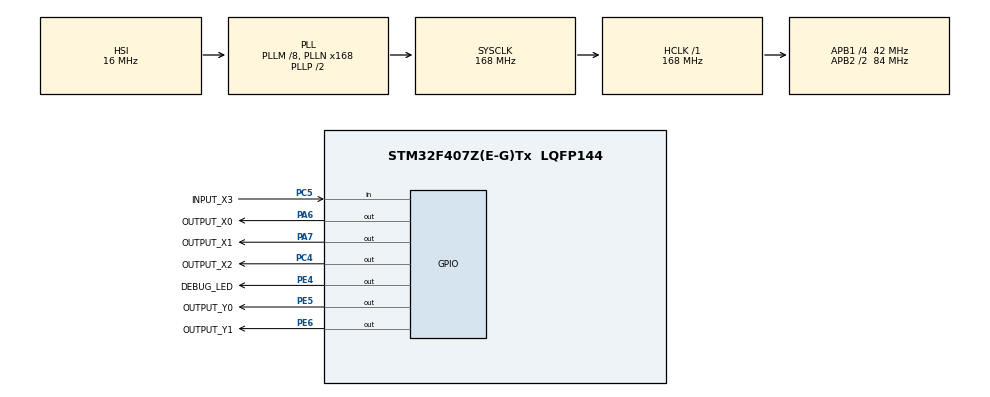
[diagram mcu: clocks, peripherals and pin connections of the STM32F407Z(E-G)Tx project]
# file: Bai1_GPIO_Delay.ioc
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Mcu.Family=STM32F4
Mcu.Name=STM32F407Z(E-G)Tx
Mcu.Package=LQFP144
NVIC.PriorityGroup=NVIC_PRIORITYGROUP_4
PA13.Mode=Serial_Wire
PA13.Signal=SYS_JTMS-SWDIO
PA14.Mode=Serial_Wire
PA14.Signal=SYS_JTCK-SWCLK
PA6.GPIO_Label=OUTPUT_X0
PA6.Signal=GPIO_Output
PA7.GPIO_Label=OUTPUT_X1
PA7.Signal=GPIO_Output
PC4.GPIO_Label=OUTPUT_X2
PC4.Signal=GPIO_Output
PC5.GPIO_Label=INPUT_X3
PC5.Signal=GPIO_Input
PE4.GPIO_Label=DEBUG_LED
PE4.Signal=GPIO_Output
PE5.GPIO_Label=OUTPUT_Y0
PE5.Signal=GPIO_Output
PE6.GPIO_Label=OUTPUT_Y1
PE6.Signal=GPIO_Output
PH0-OSC_IN.Mode=HSE-External-Oscillator
PH0-OSC_IN.Signal=RCC_OSC_IN
PH1-OSC_OUT.Mode=HSE-External-Oscillator
PH1-OSC_OUT.Signal=RCC_OSC_OUT
ProjectManager.HeapSize=0x200
ProjectManager.StackSize=0x400
ProjectManager.TargetToolchain=STM32CubeIDE
RCC.48MHZClocksFreq_Value=84000000
RCC.AHBFreq_Value=168000000
RCC.APB1CLKDivider=RCC_HCLK_DIV4
RCC.APB1Freq_Value=42000000
RCC.APB1TimFreq_Value=84000000
RCC.APB2CLKDivider=RCC_HCLK_DIV2
RCC.APB2Freq_Value=84000000
RCC.APB2TimFreq_Value=168000000
RCC.CortexFreq_Value=168000000
RCC.HCLKFreq_Value=168000000
RCC.HSE_VALUE=8000000
RCC.HSI_VALUE=16000000
RCC.LSE_VALUE=32768
RCC.PLLM=8
RCC.PLLN=168
RCC.SYSCLKFreq_VALUE=168000000
RCC.SYSCLKSource=RCC_SYSCLKSOURCE_PLLCLK
RCC.VCOOutputFreq_Value=336000000
board=custom

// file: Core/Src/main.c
/* USER CODE BEGIN Header */
/**
  ******************************************************************************
  * @file           : main.c
  * @brief          : Main program body
  ******************************************************************************
  * @attention
  *
  * Copyright (c) 2025 STMicroelectronics.
  * All rights reserved.
  *
  * This software is licensed under terms that can be found in the LICENSE file
  * in the root directory of this software component.
  * If no LICENSE file comes with this software, it is provided AS-IS.
  *
  ******************************************************************************
  */
/* USER CODE END Header */
#include "main.h"

void SystemClock_Config(void);
static void MX_GPIO_Init(void);
/* USER CODE BEGIN PFP */
//void loop_debug_led(void)
//{
//    static uint8_t state = 0;
//    static uint32_t  lastTime = 0;
//    uint32_t now = HAL_GetTick();
//
//    switch (state){
//
//    case 0: // bat dau voi led tat
//    	HAL_GPIO_WritePin(DEBUG_LED_GPIO_Port, DEBUG_LED_Pin, 0);
//    	lastTime = now;
//    	state = 1;
//    	break;
//
//    case 1: //cho 4000ms
//    	if(now - lastTime >= 4000)
//    	{
//    		HAL_GPIO_WritePin(DEBUG_LED_GPIO_Port, DEBUG_LED_Pin, 1);
//    		lastTime = now;
//    		state = 2;
//    	}
//    	break;
//
//    case 2: // cho 2000ms
//    	if (now - lastTime >= 2000)
//    	{
//    		state = 0;
//    	}
//    	break;
//    }
//}
void led_traffic(void)
{
	static uint8_t state = 0;
	static uint32_t lastTime = 0;
	uint32_t now = HAL_GetTick();

	switch (state)
	{
	case 0: // bat dau voi led RED_ON
		HAL_GPIO_WritePin(OUTPUT_X0_GPIO_Port, OUTPUT_X0_Pin, 0);
		HAL_GPIO_WritePin(OUTPUT_X1_GPIO_Port, OUTPUT_X1_Pin, 1);
		HAL_GPIO_WritePin(OUTPUT_X2_GPIO_Port, OUTPUT_X2_Pin, 1);
		if (now - lastTime >= 5000)
		{
			lastTime = now;
			state = 1;
		}
		break;

	case 1: //green
		HAL_GPIO_WritePin(OUTPUT_X0_GPIO_Port, OUTPUT_X0_Pin, 1);
		HAL_GPIO_WritePin(OUTPUT_X1_GPIO_Port, OUTPUT_X1_Pin, 0);
		HAL_GPIO_WritePin(OUTPUT_X2_GPIO_Port, OUTPUT_X2_Pin, 1);
		if(now - lastTime >= 3000)
		{
			lastTime = now;
			state = 2;
		}
		break;

	case 2: //yellow
		HAL_GPIO_WritePin(OUTPUT_X0_GPIO_Port, OUTPUT_X0_Pin, 1);
		HAL_GPIO_WritePin(OUTPUT_X1_GPIO_Port, OUTPUT_X1_Pin, 1);
		HAL_GPIO_WritePin(OUTPUT_X2_GPIO_Port, OUTPUT_X2_Pin, 0);
		if(now - lastTime >= 2000)
		{
			lastTime = now;
			state = 0;
		}
		break;

	}
}
/* USER CODE END PFP */

int main(void)
{

  /* MCU Configuration--------------------------------------------------------*/

  /* Reset of all peripherals, Initializes the Flash interface and the Systick. */
  HAL_Init();

  /* Configure the system clock */
  SystemClock_Config();

  /* Initialize all configured peripherals */
  MX_GPIO_Init();

  /* Infinite loop */
  while (1)
  {

    /* USER CODE BEGIN 3 */
//	 loop_debug_led();
	 led_traffic();

  }
  /* USER CODE END 3 */
}

void SystemClock_Config(void)
{
  RCC_OscInitTypeDef RCC_OscInitStruct = {0};
  RCC_ClkInitTypeDef RCC_ClkInitStruct = {0};

  /** Configure the main internal regulator output voltage
  */
  __HAL_RCC_PWR_CLK_ENABLE();
  __HAL_PWR_VOLTAGESCALING_CONFIG(PWR_REGULATOR_VOLTAGE_SCALE1);

  /** Initializes the RCC Oscillators according to the specified parameters
  * in the RCC_OscInitTypeDef structure.
  */
  RCC_OscInitStruct.OscillatorType = RCC_OSCILLATORTYPE_HSI;
  RCC_OscInitStruct.HSIState = RCC_HSI_ON;
  RCC_OscInitStruct.HSICalibrationValue = RCC_HSICALIBRATION_DEFAULT;
  RCC_OscInitStruct.PLL.PLLState = RCC_PLL_ON;
  RCC_OscInitStruct.PLL.PLLSource = RCC_PLLSOURCE_HSI;
  RCC_OscInitStruct.PLL.PLLM = 8;
  RCC_OscInitStruct.PLL.PLLN = 168;
  RCC_OscInitStruct.PLL.PLLP = RCC_PLLP_DIV2;
  RCC_OscInitStruct.PLL.PLLQ = 4;
  if (HAL_RCC_OscConfig(&RCC_OscInitStruct) != HAL_OK)
  {
    Error_Handler();
  }

  /** Initializes the CPU, AHB and APB buses clocks
  */
  RCC_ClkInitStruct.ClockType = RCC_CLOCKTYPE_HCLK|RCC_CLOCKTYPE_SYSCLK
                              |RCC_CLOCKTYPE_PCLK1|RCC_CLOCKTYPE_PCLK2;
  RCC_ClkInitStruct.SYSCLKSource = RCC_SYSCLKSOURCE_PLLCLK;
  RCC_ClkInitStruct.AHBCLKDivider = RCC_SYSCLK_DIV1;
  RCC_ClkInitStruct.APB1CLKDivider = RCC_HCLK_DIV4;
  RCC_ClkInitStruct.APB2CLKDivider = RCC_HCLK_DIV2;

  if (HAL_RCC_ClockConfig(&RCC_ClkInitStruct, FLASH_LATENCY_5) != HAL_OK)
  {
    Error_Handler();
  }
}

static void MX_GPIO_Init(void)
{
  GPIO_InitTypeDef GPIO_InitStruct = {0};

  /* GPIO Ports Clock Enable */
  __HAL_RCC_GPIOE_CLK_ENABLE();
  __HAL_RCC_GPIOH_CLK_ENABLE();
  __HAL_RCC_GPIOA_CLK_ENABLE();
  __HAL_RCC_GPIOC_CLK_ENABLE();

  /*Configure GPIO pin Output Level */
  HAL_GPIO_WritePin(GPIOE, DEBUG_LED_Pin|OUTPUT_Y0_Pin|OUTPUT_Y1_Pin, GPIO_PIN_RESET);

  /*Configure GPIO pin Output Level */
  HAL_GPIO_WritePin(GPIOA, OUTPUT_X0_Pin|OUTPUT_X1_Pin, GPIO_PIN_RESET);

  /*Configure GPIO pin Output Level */
  HAL_GPIO_WritePin(OUTPUT_X2_GPIO_Port, OUTPUT_X2_Pin, GPIO_PIN_RESET);

  /*Configure GPIO pins : DEBUG_LED_Pin OUTPUT_Y0_Pin OUTPUT_Y1_Pin */
  GPIO_InitStruct.Pin = DEBUG_LED_Pin|OUTPUT_Y0_Pin|OUTPUT_Y1_Pin;
  GPIO_InitStruct.Mode = GPIO_MODE_OUTPUT_PP;
  GPIO_InitStruct.Pull = GPIO_NOPULL;
  GPIO_InitStruct.Speed = GPIO_SPEED_FREQ_LOW;
  HAL_GPIO_Init(GPIOE, &GPIO_InitStruct);

  /*Configure GPIO pins : OUTPUT_X0_Pin OUTPUT_X1_Pin */
  GPIO_InitStruct.Pin = OUTPUT_X0_Pin|OUTPUT_X1_Pin;
  GPIO_InitStruct.Mode = GPIO_MODE_OUTPUT_PP;
  GPIO_InitStruct.Pull = GPIO_NOPULL;
  GPIO_InitStruct.Speed = GPIO_SPEED_FREQ_LOW;
  HAL_GPIO_Init(GPIOA, &GPIO_InitStruct);

  /*Configure GPIO pin : OUTPUT_X2_Pin */
  GPIO_InitStruct.Pin = OUTPUT_X2_Pin;
  GPIO_InitStruct.Mode = GPIO_MODE_OUTPUT_PP;
  GPIO_InitStruct.Pull = GPIO_NOPULL;
  GPIO_InitStruct.Speed = GPIO_SPEED_FREQ_LOW;
  HAL_GPIO_Init(OUTPUT_X2_GPIO_Port, &GPIO_InitStruct);

  /*Configure GPIO pin : INPUT_X3_Pin */
  GPIO_InitStruct.Pin = INPUT_X3_Pin;
  GPIO_InitStruct.Mode = GPIO_MODE_INPUT;
  GPIO_InitStruct.Pull = GPIO_NOPULL;
  HAL_GPIO_Init(INPUT_X3_GPIO_Port, &GPIO_InitStruct);

}

void Error_Handler(void)
{
  __disable_irq();
  while (1)
  {
  }
}
